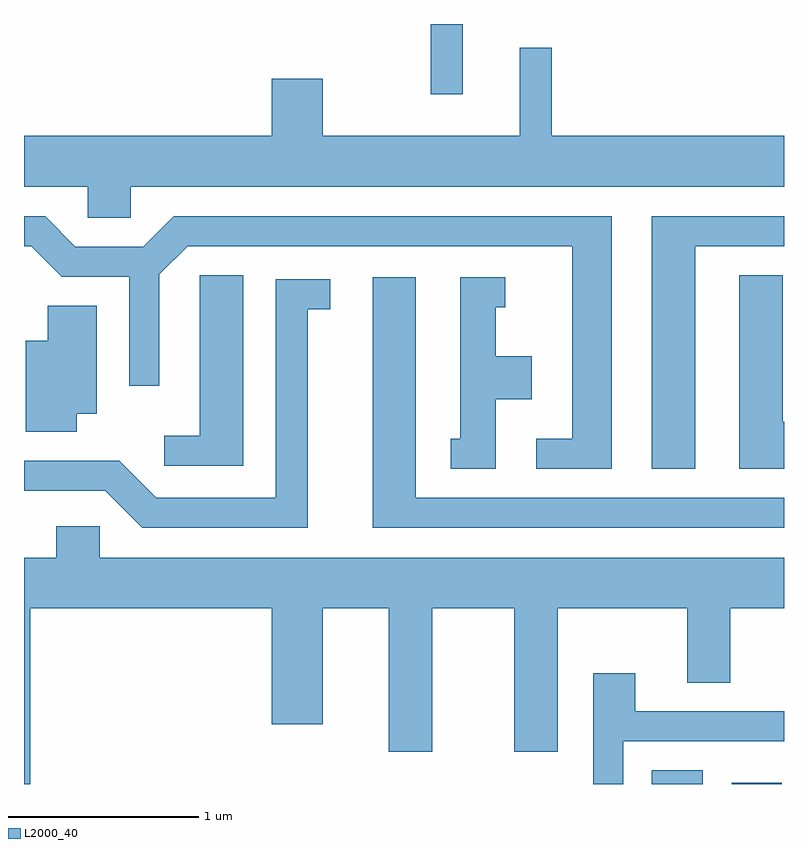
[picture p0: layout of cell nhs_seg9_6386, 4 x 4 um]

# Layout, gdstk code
import gdstk
lib = gdstk.Library(unit=1e-6, precision=1e-09)
def R(c, l, rs):  # rectangles x0, y0, x1, y1
    for r in rs: c.add(gdstk.rectangle(r[:2], r[2:], *l))
def P(c, l, *ps):  # polygons
    for p in ps: c.add(gdstk.Polygon(p, *l))
L2000_40 = (2000, 40)

nhs_seg9_6386 = lib.new_cell('nhs_seg9_6386')
R(nhs_seg9_6386, L2000_40, [(376.916,2006.432,377.184,2006.504), (377.336,2006.432,377.599,2006.439), (375.751,2010.063,375.919,2010.432)])
P(nhs_seg9_6386, L2000_40, [(374.174,2009.576),(377.611,2009.576),(377.611,2009.844),(376.389,2009.844),(376.389,2010.308),(376.221,2010.308),(376.221,2009.844),(375.184,2009.844),(375.184,2010.144),(374.916,2010.144),(374.916,2009.844),(373.611,2009.844),(373.611,2009.576),(373.946,2009.576),(373.946,2009.411),(374.174,2009.411)],
  [(376.704,2009.419),(374.399,2009.419),(374.239,2009.259),(373.882,2009.259),(373.722,2009.419),(373.611,2009.419),(373.611,2009.261),(373.649,2009.261),(373.809,2009.101),(374.166,2009.101),(374.166,2008.528),(374.324,2008.528),(374.324,2009.114),(374.472,2009.261),(376.496,2009.261),(376.496,2008.249),(376.308,2008.249),(376.308,2008.091),(376.704,2008.091)],
  [(377.144,2009.261),(377.611,2009.261),(377.611,2009.419),(376.916,2009.419),(376.916,2008.091),(377.144,2008.091)],
  [(377.611,2008.339),(377.604,2008.339),(377.604,2009.109),(377.376,2009.109),(377.376,2008.091),(377.611,2008.091)],
  [(374.764,2009.109),(374.536,2009.109),(374.536,2008.264),(374.348,2008.264),(374.348,2008.106),(374.764,2008.106)],
  [(376.094,2008.456),(376.284,2008.456),(376.284,2008.684),(376.094,2008.684),(376.094,2008.941),(376.143,2008.941),(376.143,2009.099),(375.906,2009.099),(375.906,2008.249),(375.858,2008.249),(375.858,2008.091),(376.094,2008.091)],
  [(377.611,2007.939),(375.674,2007.939),(375.674,2009.099),(375.446,2009.099),(375.446,2007.781),(377.611,2007.781)],
  [(375.104,2008.931),(375.223,2008.931),(375.223,2009.089),(374.936,2009.089),(374.936,2007.939),(374.307,2007.939),(374.112,2008.134),(373.611,2008.134),(373.611,2007.976),(374.039,2007.976),(374.234,2007.781),(375.104,2007.781)],
  [(373.889,2008.381),(373.994,2008.381),(373.994,2008.949),(373.736,2008.949),(373.736,2008.764),(373.621,2008.764),(373.621,2008.286),(373.889,2008.286)],
  [(373.644,2007.356),(374.916,2007.356),(374.916,2006.746),(375.184,2006.746),(375.184,2007.356),(375.531,2007.356),(375.531,2006.601),(375.759,2006.601),(375.759,2007.356),(376.191,2007.356),(376.191,2006.601),(376.419,2006.601),(376.419,2007.356),(377.101,2007.356),(377.101,2006.966),(377.329,2006.966),(377.329,2007.356),(377.611,2007.356),(377.611,2007.624),(374.009,2007.624),(374.009,2007.789),(373.781,2007.789),(373.781,2007.624),(373.611,2007.624),(373.611,2006.432),(373.644,2006.432)],
  [(376.764,2006.656),(377.611,2006.656),(377.611,2006.814),(376.829,2006.814),(376.829,2007.014),(376.606,2007.014),(376.606,2006.432),(376.764,2006.432)])

lib.write_gds('nhs_seg9_6386.gds')
